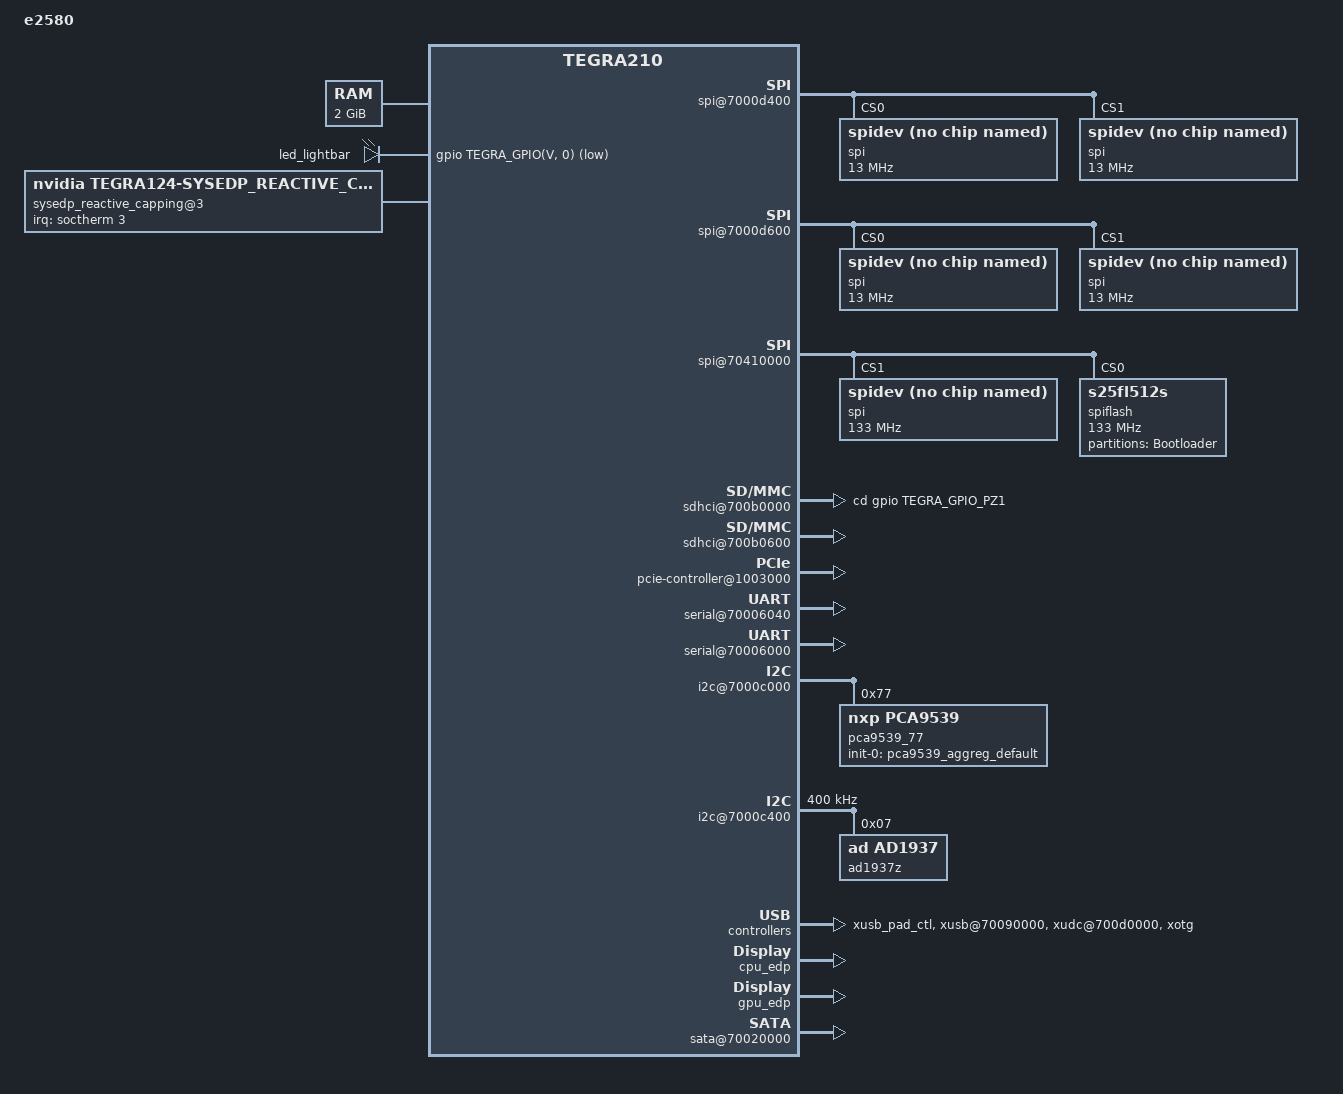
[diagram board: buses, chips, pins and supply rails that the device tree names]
/*
 * arch/arm64/boot/dts/tegra210-vcm31-e2580-common.dtsi
 *
 * Copyright (c) 2015-2016, NVIDIA CORPORATION.  All rights reserved.
 *
 * This program is free software; you can redistribute it and/or modify
 * it under the terms of the GNU General Public License as published by
 * the Free Software Foundation; version 2 of the License.
 *
 * This program is distributed in the hope that it will be useful, but WITHOUT
 * ANY WARRANTY; without even the implied warranty of MERCHANTABILITY or
 * FITNESS FOR A PARTICULAR PURPOSE.  See the GNU General Public License for
 * more details.
 *
 * You should have received a copy of the GNU General Public License along
 * with this program; if not, write to the Free Software Foundation, Inc.,
 * 51 Franklin Street, Fifth Floor, Boston, MA  02110-1301, USA.
 *
 */

#include "tegra210-common.dtsi"
#include "tegra210-platforms/tegra210-sdhci.dtsi"
#include "tegra210-platforms/tegra210-edp.dtsi"
#include "tegra210-platforms/tegra210-sysedp.dtsi"
#include "tegra210-platforms/tegra210-audio.dtsi"
#include "tegra210-platforms/tegra210-pinmux-drive-sdmmc-common.dtsi"
#include "tegra210-platforms/tegra210-vcm31-power-tree-e2580-0631-a00.dtsi"
#include "tegra210-platforms/tegra210-ers-hdmi-e2190-1100-a00.dtsi"
#include "tegra210-platforms/tegra210-vcm31t210-emc.dtsi"
#include "tegra210-platforms/tegra210-ers-clk-init.dtsi"
#include "tegra210-platforms/tegra210-thermal-tmp451-e2580-0631-a00.dtsi"

#include <dt-bindings/iio/meter/ina3221x.h>
#include <dt-bindings/sound/tegra-asoc-alt.h>

/ {
	model = "e2580";
	compatible = "nvidia,e2580", "nvidia,tegra210";
	nvidia,dtsfilename = __FILE__;
	nvidia,fastboot-usb-pid = <0x7100>;
	nvidia,boardids = "2580:0631:A0";
	nvidia,proc-boardid = "2580:0631:A0";
	nvidia,pmu-boardid = "2580:0631:A0";

	/* Place holder for Boardinfo,this will be updated by QB
	* by reading the values from BCT partition
	*/
	nvidia,boardinfo {
		macids {
			mac0-interface = "0000";
			mac0-address = <00 00 00 00 00 00>;
			mac0-address-string = "00 00 00 00 00 00";
		};
		skuinfo {
			skustring = "000-00000-0000-000";
			skuver = "00";
		};
		prodinfo {
			prodstring = "000-00000-0000-000";
			prodver = "0";
		};
		serialnuminfo {
			serialnumstring = "0000000";
			version = "0";
		};
	};

	rollback-protection {
		status = "okay";
	};

	firmware {
		android {
			compatible = "android,firmware";
			hardware = "foster_e";
		};
	};

	watchdog@60005100 {
		status = "okay";
	};

	spi@7000d400 {
		status = "okay";
		spi@0 {
			compatible = "spidev";
			reg = <0>;
			spi-max-frequency = <13000000>;
			controller-data {
				nvidia,enable-hw-based-cs;
			};
		};
		spi@1 {
			compatible = "spidev";
			reg = <1>;
			spi-max-frequency = <13000000>;
			controller-data {
				nvidia,enable-hw-based-cs;
			};
		};
	};

	spi@7000d600 {
		status = "okay";
		spi@0 {
			compatible = "spidev";
			reg = <0>;
			spi-max-frequency = <13000000>;
			controller-data {
				nvidia,enable-hw-based-cs;
			};
		};
		spi@1 {
			compatible = "spidev";
			reg = <1>;
			spi-max-frequency = <13000000>;
			controller-data {
				nvidia,enable-hw-based-cs;
			};
		};
	};

	spi@7000d800 {
		status = "disabled";
		spi@0 {
			compatible = "spidev";
			reg = <0>;
			spi-max-frequency = <13000000>;
		};
	};

	spi@7000da00 {
		status = "disabled";
		spi@0 {
			compatible = "spidev";
			reg = <0>;
			spi-max-frequency = <13000000>;
		};
	};

	spi@70410000 {
		status = "okay";

		nvidia,x4-is-ddr=<1>;

		spi@0 {
			compatible = "spidev";
			reg = <1>;
			spi-max-frequency = <133000000>;

			controller-data {
				nvidia,x1-len-limit = <16>;
				nvidia,x1-bus-speed = <133000000>; /* In Mhz */
				nvidia,x1-dymmy-cycle = <0>;
				nvidia,x4-bus-speed = <133000000>;
				nvidia,x4-dymmy-cycle = <8>;
				nvidia,ifddr-div2-sdr = <1>;
				nvidia,x4-is-ddr=<1>;
			};
		};

		spiflash@1 {
			#address-cells = <1>;
			#size-cells = <1>;
			compatible = "s25fl512s";
			reg = <0>;
			spi-max-frequency = <133000000>;
			partition@0 {
				label = "Bootloader";
				reg = <0x00000000 0x4000000>;
			};
			controller-data {
				nvidia,x1-len-limit = <16>;
				nvidia,x1-bus-speed = <133000000>; /* In Mhz */
				nvidia,x1-dymmy-cycle = <0>;
				nvidia,x4-bus-speed = <133000000>;
				nvidia,x4-dymmy-cycle = <8>;
				nvidia,ifddr-div2-sdr = <1>;
				nvidia,x4-is-ddr=<1>;
			};
		};
	};

	sdhci@700b0000 {
		cd-gpios = <&gpio TEGRA_GPIO_PZ1 0>;
		nvidia,sd-device;
		status = "okay";
	};

	sdhci@700b0600 { /* SDMMC4 for EMMC */
		uhs-mask = <0x40>;
		built-in;
		pll_source = "pll_p", "pll_c4_out2";
		power-off-rail;
		status = "okay";
	};

	pcie-controller@1003000 {
		status = "ok";
		nvidia,lane-map = <0x12>;
		dvdd-pex-pll-supply = <&max77620_ldo1>;
		l0-dvddio-pex-supply = <&max77620_ldo1>;
		l1-dvddio-pex-supply = <&max77620_ldo1>;
		l2-dvddio-pex-supply = <&max77620_ldo1>;
		l3-dvddio-pex-supply = <&max77620_ldo1>;
		l4-dvddio-pex-supply = <&max77620_ldo1>;
		l5-dvddio-pex-supply = <&max77620_ldo1>;
		l6-dvddio-pex-supply = <&max77620_ldo1>;
		hvdd-pex-pll-e-supply = <&vdd_dummy>;
		l0-hvddio-pex-supply = <&vdd_dummy>;
		l1-hvddio-pex-supply = <&vdd_dummy>;
		l2-hvddio-pex-supply = <&vdd_dummy>;
		l3-hvddio-pex-supply = <&vdd_dummy>;
		l4-hvddio-pex-supply = <&vdd_dummy>;
		l5-hvddio-pex-supply = <&vdd_dummy>;
		l6-hvddio-pex-supply = <&vdd_dummy>;
		vddio-pex-ctl-supply = <&vdd_dummy>;
		pci@1,0 {
			status = "okay";
			nvidia,num-lanes = <0x2>;
		};

		pci@2,0 {
			status = "okay";
			nvidia,num-lanes = <0x1>;
		};
	};

	tegra-aotag {
		status = "disabled";
	};

	serial@70006040 {
		compatible = "nvidia,tegra210-uart", "nvidia,tegra114-hsuart";
		console-port;
		sqa-automation-port;
		status = "okay";
	};

	serial@70006000 {
		compatible = "nvidia,tegra114-hsuart";
		status = "okay";
	};

	chosen {
		nvidia,t210-vcm31-sku;
		nvidia,gpu_clk_to_max_on_boot;
	};

	pmc@7000e400 {
		nvidia,invert-interrupt;
		io-pad-defaults {
			audio-hv {
				nvidia,io-pad-init-voltage = <IO_PAD_VOLTAGE_1_8V>;
			};

			spi-hv {
				nvidia,io-pad-init-voltage = <IO_PAD_VOLTAGE_1_8V>;
			};

			gpio {
				nvidia,io-pad-init-voltage = <IO_PAD_VOLTAGE_1_8V>;
			};
			sdmmc1 {
				nvidia,enable-dynamic-pad-voltage;
			};
			sdmmc3 {
				nvidia,enable-dynamic-pad-voltage;
			};
		};
	};

	host1x {
		status = "okay";
		/* tegradc.0 */
		dc@54200000 {
			status = "okay";
			nvidia,dc-flags = <TEGRA_DC_FLAG_ENABLED>;
			nvidia,emc-clk-rate = <300000000>;
			nvidia,fb-bpp = <32>; /* bits per pixel */
			nvidia,fb-flags = <TEGRA_FB_FLIP_ON_PROBE>;
		};
	};

	memory@80000000 {
		device_type = "memory";
		reg = < 0x0 0x80000000 0x0 0x80000000 >;
	};

	adma@702e2000  {
		dma-channels = <10>;
		status = "okay";
	};

	wifi-antenna-tuning {
		status = "disabled";
	};

	soctherm@0x700E2000 {
		throttle@oc1 {
			status = "disabled";
			device_type = "throttlectl";
			oc-alarm-id = <1>;
			priority = <50>;
			mode = "brief";
			intr;
			active_low;
			count_threshold = <100>;
			filter = <5100000>;
			throttle_dev = <&{/soctherm@0x700E2000/throttle_dev@cpu_medium}
			&{/soctherm@0x700E2000/throttle_dev@gpu_medium}>;
		};
		throttle@oc3 {
			status = "disabled";
			device_type = "throttlectl";
			oc-alarm-id = <3>;
			priority = <50>;
			mode = "brief";
			intr;
			active_low;
			count_threshold = <15>;
			filter = <5100000>;
			throttle_dev = <&{/soctherm@0x700E2000/throttle_dev@cpu_medium}
			&{/soctherm@0x700E2000/throttle_dev@gpu_medium}>;
		};
		throttle_dev@cpu_medium {
			dividend = <63>;
			divisor = <255>;
			duration = <0>;
			step = <0>;
		};
		throttle_dev@gpu_medium {
			level = "medium_throttling";
		};
	};

	thermal-zones {
		CPU-therm {
			thermal-zone-params {
				governor-name = "pid_thermal_gov";
				max_err_temp = <9000>;
				max_err_gain = <1000>;
				gain_p = <1000>;
				gain_d = <0>;
				up_compensation = <20>;
				down_compensation = <20>;
			};
			trips {
				cpu_critical {
					temperature = <102500>;
					hysteresis = <0>;
					type = "critical";
					writable;
				};
				cpu_heavy {
					temperature = <98500>;
					hysteresis = <0>;
					type = "hot";
					writable;
				};
				cpu_throttle {
					temperature = <89000>;
					hysteresis = <0>;
					type = "passive";
					writable;
				};
			};
			cooling-maps {
				map0 {
					trip = <&{/thermal-zones/CPU-therm/trips/cpu_critical}>;
					cdev-type = "tegra-shutdown";
					cooling-device = <&{/soctherm@0x700E2000/throttle@critical}
					THERMAL_NO_LIMIT THERMAL_NO_LIMIT>;
				};
				map1 {
					trip = <&{/thermal-zones/CPU-therm/trips/cpu_heavy}>;
					cdev-type = "tegra-heavy";
					cooling-device = <&{/soctherm@0x700E2000/throttle@heavy}
					THERMAL_NO_LIMIT THERMAL_NO_LIMIT>;
				};
				map2 {
					trip = <&{/thermal-zones/CPU-therm/trips/cpu_throttle}>;
					cdev-type = "cpu-balanced";
					cooling-device = <&{/bthrot_cdev/cpu_balanced}
					THERMAL_NO_LIMIT THERMAL_NO_LIMIT>;
				};
			};
		};
		GPU-therm {
			thermal-zone-params {
				governor-name = "pid_thermal_gov";
				max_err_temp = <9000>;
				max_err_gain = <1000>;
				gain_p = <1000>;
				gain_d = <0>;
				up_compensation = <20>;
				down_compensation = <20>;
			};
			trips {
				gpu_critical {
					temperature = <103000>;
					hysteresis = <0>;
					type = "critical";
					writable;
				};
				gpu_heavy {
					temperature = <100000>;
					hysteresis = <0>;
					type = "hot";
					writable;
				};
				gpu_throttle {
					temperature = <90500>;
					hysteresis = <0>;
					type = "passive";
					writable;
				};
			};
			cooling-maps {
				map0 {
					trip = <&{/thermal-zones/GPU-therm/trips/gpu_critical}>;
					cdev-type = "tegra-shutdown";
					cooling-device = <&{/soctherm@0x700E2000/throttle@critical}
					THERMAL_NO_LIMIT THERMAL_NO_LIMIT>;
				};
				map1 {
					trip = <&{/thermal-zones/GPU-therm/trips/gpu_heavy}>;
					cdev-type = "tegra-heavy";
					cooling-device = <&{/soctherm@0x700E2000/throttle@heavy}
					THERMAL_NO_LIMIT THERMAL_NO_LIMIT>;
				};
				map2 {
					trip = <&{/thermal-zones/GPU-therm/trips/gpu_throttle}>;
					cdev-type = "gpu-balanced";
					cooling-device = <&{/bthrot_cdev/gpu_balanced}
					THERMAL_NO_LIMIT THERMAL_NO_LIMIT>;
				};
			};
		};

		LCPU-therm {
			thermal-zone-params {
				governor-name = "pid_thermal_gov";
				max_err_temp = <9000>;
				max_err_gain = <1000>;
				gain_p = <1000>;
				gain_d = <0>;
				up_compensation = <20>;
				down_compensation = <20>;
			};
			trips {
				lcpu_critical {
					temperature = <103000>; /* must be same as GPU's critical temp */
					hysteresis = <0>;
					type = "critical";
					writable;
				};
				lcpu_heavy {
					temperature = <101500>;
					hysteresis = <0>;
					type = "hot";
					writable;
				};
				lcpu_throttle {
					temperature = <92000>;
					hysteresis = <0>;
					type = "passive";
					writable;
				};
			};
			cooling-maps {
				map0 {
					trip = <&{/thermal-zones/LCPU-therm/trips/lcpu_critical}>;
					cdev-type = "tegra-shutdown";
					cooling-device = <&{/soctherm@0x700E2000/throttle@critical}
					THERMAL_NO_LIMIT THERMAL_NO_LIMIT>;
				};
				map1 {
					trip = <&{/thermal-zones/LCPU-therm/trips/lcpu_heavy}>;
					cdev-type = "tegra-heavy";
					cooling-device = <&{/soctherm@0x700E2000/throttle@heavy}
					THERMAL_NO_LIMIT THERMAL_NO_LIMIT>;
				};
				map2 {
					trip = <&{/thermal-zones/LCPU-therm/trips/lcpu_throttle}>;
					cdev-type = "cpu-balanced";
					cooling-device = <&{/bthrot_cdev/cpu_balanced}
					THERMAL_NO_LIMIT THERMAL_NO_LIMIT>;
				};
			};
		};

		PLL-therm {
			thermal-zone-params {
				governor-name = "pid_thermal_gov";
				max_err_temp = <9000>;
				max_err_gain = <1000>;
				gain_p = <1000>;
				gain_d = <0>;
				up_compensation = <20>;
				down_compensation = <20>;
			};
		};

		Charger-Die {
			status = "okay";
		};

		Tboard_tegra {
			status = "okay";
		};
		Tdiode_tegra {
			status = "okay";
		};
	};

	ahub {
		i2s@702d1100 {
			pinctrl-names = "dap_active", "dap_inactive";
			pinctrl-0 = <>;
			pinctrl-1 = <>;
			regulator-supplies = "vdd-1v8-spi-hv", "vdd-1v8-spi-hv-bias";
			vdd-1v8-spi-hv-supply = <&vdd_dummy>;
			vdd-1v8-spi-hv-bias-supply = <&vdd_dummy>;
			fsync-width = <0>;
		};
		/* enable I2S4_CYA bit to select i2s4b pin */
		i2s@702d1300 {
			enable-cya;
		};
	};

	sound {
		compatible = "nvidia,tegra-audio-t210ref-mobile-foster";
		nvidia,model = "tegra-snd-t210ref-mobile-es755";
		nvidia,num-codec-link = <1>;

		nvidia,audio-routing =
			"y Headphone", 	"y OUT",
			"y IN",		"y Mic";

		nvidia,xbar = <&tegra_axbar>;

		nvidia,dai-link-1 {
			link-name = "spdif-dit-1";
			cpu-dai = <&tegra_i2s2>;
			codec-dai = <&spdif_dit1>;
			cpu-dai-name = "I2S2";
			codec-dai-name = "dit-hifi";
			format = "dsp_a";
			bitclock-slave;
			frame-slave;
			bitclock-inversion;
			frame-inversion;
			bit-format = "s16_le";
			bclk_ratio = <4>;
			srate = <8000>;
			num-channel = <1>;
			name-prefix = "y";
		};
	};

	i2c@7000c000 {
		/* U17 of p1892 */
		pca9539_77: pca9546@77 {
			compatible = "nxp,pca9539";
			gpio-controller;
			#gpio-cells = <2>;
			reg = <0x77>;
			gpio-init-names = "aggreg_default";
			gpio-init-0 = <&pca9539_aggreg_default>;
			pca9539_aggreg_default: aggreg_default {
				gpio-output-low = <7 8>;
				gpio-output-high = <1>;
			};
		};
	};

	adsp {
		nvidia,adsp_freq = <614400>; /* adsp base freq in KHz */
		nvidia,ape_freq = <307200>; /* ape freq = adsp_clk_freq / 2 in KHz */
		nvidia,ape_emc_freq = <102000>; /* ape.emc freq in KHz*/
	};

	i2c@7000c400 {
		status = "okay";
		clock-frequency = <400000>;

		ad1937z: ad193x.1-0007@07 {
			compatible = "ad,ad1937";
			reg = <0x07>;
			status = "okay";
		};

		ina3221x@40 {
			status = "disabled";
		};
	};

	i2c@7000c500 {
		status = "disabled";
	};

	sound_ref {
		compatible = "nvidia,tegra-audio-t210ref";
		nvidia,model = "tegra-snd-t210ref";
		nvidia,num-codec-link = <1>;
		nvidia,num-amx = <2>;
		nvidia,num-adx = <2>;
		nvidia,amx-slot-size = <32 4>;
		nvidia,adx-slot-size = <32 32>;
		nvidia,addr-max9485 = <112>;
		nvidia,amx1-slot-map = <
			/* jack 0 */
			TDM_SLOT_MAP(0, 0, 0)
			TDM_SLOT_MAP(0, 0, 0)
			TDM_SLOT_MAP(0, 1, 0)
			TDM_SLOT_MAP(0, 1, 1)
			TDM_SLOT_MAP(0, 0, 0)
			TDM_SLOT_MAP(0, 0, 0)
			TDM_SLOT_MAP(0, 2, 0)
			TDM_SLOT_MAP(0, 2, 1)
			/* jack 1 */
			TDM_SLOT_MAP(0, 0, 0)
			TDM_SLOT_MAP(0, 0, 0)
			TDM_SLOT_MAP(1, 1, 0)
			TDM_SLOT_MAP(1, 1, 1)
			TDM_SLOT_MAP(0, 0, 0)
			TDM_SLOT_MAP(0, 0, 0)
			TDM_SLOT_MAP(1, 2, 0)
			TDM_SLOT_MAP(1, 2, 1)
			/* jack 2 */
			TDM_SLOT_MAP(0, 0, 0)
			TDM_SLOT_MAP(0, 0, 0)
			TDM_SLOT_MAP(2, 1, 0)
			TDM_SLOT_MAP(2, 1, 1)
			TDM_SLOT_MAP(0, 0, 0)
			TDM_SLOT_MAP(0, 0, 0)
			TDM_SLOT_MAP(2, 2, 0)
			TDM_SLOT_MAP(2, 2, 1)
			/* jack 3 */
			TDM_SLOT_MAP(0, 0, 0)
			TDM_SLOT_MAP(0, 0, 0)
			TDM_SLOT_MAP(3, 1, 0)
			TDM_SLOT_MAP(3, 1, 1)
			TDM_SLOT_MAP(0, 0, 0)
			TDM_SLOT_MAP(0, 0, 0)
			TDM_SLOT_MAP(3, 2, 0)
			TDM_SLOT_MAP(3, 2, 1)>;
		nvidia,amx2-slot-map = <
			TDM_SLOT_MAP(0, 1, 0)
			TDM_SLOT_MAP(0, 1, 1)
			TDM_SLOT_MAP(1, 1, 0)
			TDM_SLOT_MAP(1, 1, 1)>;
		nvidia,adx-slot-map = <
			/* jack 0 */
			TDM_SLOT_MAP(0, 0, 0)
			TDM_SLOT_MAP(0, 0, 0)
			TDM_SLOT_MAP(0, 1, 0)
			TDM_SLOT_MAP(0, 1, 1)
			TDM_SLOT_MAP(0, 0, 0)
			TDM_SLOT_MAP(0, 0, 0)
			TDM_SLOT_MAP(0, 2, 0)
			TDM_SLOT_MAP(0, 2, 1)
			/* jack 1 */
			TDM_SLOT_MAP(0, 0, 0)
			TDM_SLOT_MAP(0, 0, 0)
			TDM_SLOT_MAP(1, 1, 0)
			TDM_SLOT_MAP(1, 1, 1)
			TDM_SLOT_MAP(0, 0, 0)
			TDM_SLOT_MAP(0, 0, 0)
			TDM_SLOT_MAP(1, 2, 0)
			TDM_SLOT_MAP(1, 2, 1)
			/* jack 2 */
			TDM_SLOT_MAP(0, 0, 0)
			TDM_SLOT_MAP(0, 0, 0)
			TDM_SLOT_MAP(2, 1, 0)
			TDM_SLOT_MAP(2, 1, 1)
			TDM_SLOT_MAP(0, 0, 0)
			TDM_SLOT_MAP(0, 0, 0)
			TDM_SLOT_MAP(2, 2, 0)
			TDM_SLOT_MAP(2, 2, 1)
			/* jack 3 */
			TDM_SLOT_MAP(0, 0, 0)
			TDM_SLOT_MAP(0, 0, 0)
			TDM_SLOT_MAP(3, 1, 0)
			TDM_SLOT_MAP(3, 1, 1)
			TDM_SLOT_MAP(0, 0, 0)
			TDM_SLOT_MAP(0, 0, 0)
			TDM_SLOT_MAP(3, 2, 0)
			TDM_SLOT_MAP(3, 2, 1)>;

		nvidia,audio-routing =
			"Headphone-z", 	"z DAC1OUT",
			"Headphone-z", 	"z DAC2OUT",
			"Headphone-z", 	"z DAC3OUT",
			"Headphone-z", 	"z DAC4OUT",
			"z ADC1IN",	"LineIn-z";

		nvidia,xbar = <&tegra_axbar>;

		nvidia,dai-link-1 {
			link-name = "ad-playback-z";
			cpu-dai = <&tegra_i2s4>;
			codec-dai = <&ad1937z>;
			cpu-dai-name = "I2S4";
			codec-dai-name = "ad193x-hifi";
			tx-mask = <0xFF>;
			rx-mask = <0xFF>;
			format = "dsp_a";
			bitclock-slave;
			frame-slave;
			bitclock-noninversion;
			frame-noninversion;
			bit-format = "s32_le";
			bclk_ratio = <1>;
			srate = <48000>;
			num-channel = <8>;
			name-prefix = "z";
		};
	};

	adsp_audio {
		compr-ops = <0>;
		num-plugin = <3>;
		plugin-info-1 {
			plugin-name = "reverb";
			firmware-name = "libnvreverbfx.elf";
			widget-name = "REVERB";
			param-type = <2>; /* SNDRV_CTL_ELEM_TYPE_INTEGER */
		};
		plugin-info-2 {
			plugin-name = "wire";
			firmware-name = "libnvwirefx.elf";
			widget-name = "WIRE";
		};
		plugin-info-3 {
			plugin-name = "aec";
			firmware-name = "libnvaecfx.elf";
			widget-name = "AEC";
			param-type = <2>; /* SNDRV_CTL_ELEM_TYPE_INTEGER */
		};
	};

	extcon {
		extcon@0 {
			status = "disabled";
		};
	};

	xusb_pad_ctl: xusb_padctl {
		nvidia,ss_ports = <TEGRA_XHCI_SS_P0 TEGRA_XHCI_USB2_P0 TEGRA_XHCI_UNUSED_LANE TEGRA_XHCI_PORT_OTG
				   TEGRA_XHCI_SS_P1 TEGRA_XHCI_UNUSED_PORT TEGRA_XHCI_UNUSED_LANE TEGRA_XHCI_PORT_STD
				   TEGRA_XHCI_SS_P2 TEGRA_XHCI_USB2_P2 TEGRA_XHCI_LANE_3 TEGRA_XHCI_PORT_STD
				   TEGRA_XHCI_SS_P3 TEGRA_XHCI_USB2_P3 TEGRA_XHCI_LANE_4 TEGRA_XHCI_PORT_STD>;
		nvidia,lane-map = <0x12>;
		nvidia,enable-sata-port;
		status = "okay";
	};

	xusb@70090000 {
		/* nvidia,uses_external_pmic;
		/* nvidia,gpio_controls_muxed_ss_lanes; */
		nvidia,gpio_ss1_sata = <0>;
		nvidia,ulpicap = <0>; /* No ulpi support. can we remove */
		nvidia,portmap = <0x0E0C>;
		nvidia,common_padctl = <&xusb_pad_ctl>;
		status = "okay";
	};

	xudc@700d0000 {
		nvidia,common_padctl = <&xusb_pad_ctl>;
		nvidia,portmap = <0x0108>;
		#extcon-cells = <1>;
		status = "okay";
	};

	xotg {
		nvidia,common_padctl = <&xusb_pad_ctl>;
		#extcon-cells = <1>;
		status = "okay";
	};

	gpu-dvfs-rework {
		status = "disabled";
	};

	pwm-leds {
		compatible = "pwm-leds";
		lightbar {
			label = "led_lightbar";
			pwms = <&tegra_pwm 0 10000000>;
			gpios = <&gpio TEGRA_GPIO(V, 0) GPIO_ACTIVE_LOW>;
			max-brightness = <255>;
			default-brightness = <255>;
			linux,default-trigger = "default-on";
		};
	};

	cpu_edp {
		status = "okay";
		nvidia,edp_limit = <25000>;
	};

	gpu_edp {
		status = "okay";
		nvidia,edp_limit = <25000>;
	};

	sysedp_reactive_capping@3 {
		compatible = "nvidia,tegra124-sysedp_reactive_capping";
		nvidia,max_capping_mw = <15000>;
		nvidia,step_alarm_mw = <1000>;
		nvidia,step_relax_mw = <500>;
		nvidia,relax_ms = <250>;
		interrupt-parent = <&soctherm>;
		interrupts = <3 0x2002>;
		sysedpc {
			nvidia,name = "batmon_oc3";
		};
	};

	sysedp {
		compatible = "nvidia,tegra124-sysedp";
		nvidia,margin = <0>;
		nvidia,min_budget = <0>;
		nvidia,initial_budget = <40000>;
	};

	sysedp-dynamic-capping {
		compatible = "nvidia,tegra124-sysedp-dynamic-capping";
		nvidia,throttle_depth = <75>;
		nvidia,cap_method = <1>;
	};

	sata@70020000 {
		status = "okay";
		nvidia,enable-sata-port;
	};

	isc-mgr.0 {
		compatible = "nvidia,isc-mgr";
		i2c-bus = <1>;
		csi-port = <0>;
		/* default-power-on; */
		status = "okay";
	};

	isc-mgr.1 {
		compatible = "nvidia,isc-mgr";
		i2c-bus = <1>;
		csi-port = <2>;
		/* default-power-on; */
		status = "okay";
	};

	isc-mgr.2 {
		compatible = "nvidia,isc-mgr";
		i2c-bus = <1>;
		csi-port = <4>;
		/* default-power-on; */
		status = "okay";
	};

	cpufreq {
		compatible = "nvidia,tegra210-cpufreq";
		status = "okay";
		cpu-scaling-data {
			freq-table = <
				204000
				306000
				408000
				510000
				612000
				714000
				816000
				918000
				1020000
				1122000
				1224000
				1326000
				1428000
				1530000
				1606500
				1632000
			>;
			preserve-across-suspend;
		};
	};
	clock {
		t210-clk-init-table {
			clkinit-1 = <
			/* clock id			parent id		rate		ctrl flags */
			TEGRA210_CLK_ID_GBUS_GM20B_USER	0			806400000	0
			TEGRA210_CLK_ID_SBUS_WAKE_USER  TEGRA210_CLK_ID_SBUS    408000000       1
			0 >;
		};
	};
};
